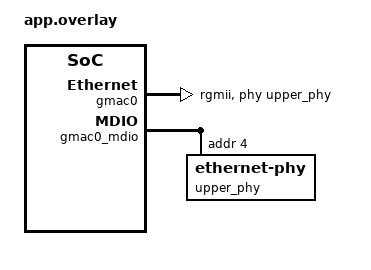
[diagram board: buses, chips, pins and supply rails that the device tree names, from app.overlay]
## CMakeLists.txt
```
# Copyright The Zephyr Project Contributors
# SPDX-License-Identifier: Apache-2.0

cmake_minimum_required(VERSION 3.20.0)

find_package(Zephyr REQUIRED HINTS $ENV{ZEPHYR_BASE})
project(s32g_periodic_tasks)

target_sources(app PRIVATE
  src/main.c
  src/clock.c
  src/clock_setup.c
  src/can_loopback.c
  src/eeprom_read_test.c
  src/network.c
  src/udp_log.c
)
```

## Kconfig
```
# SPDX-FileCopyrightText: Copyright The Zephyr Project Contributors
# SPDX-License-Identifier: Apache-2.0

mainmenu "S32G periodic application"

source "Kconfig.zephyr"

config SAMPLE_S32G_FLEXCAN_LOOPBACK
	bool "Run FlexCAN0 internal loopback at startup"
	depends on SOC_S32G274A_M7_0
	help
	  Test 1000 classical CAN frames at 500 kbit/s, then disable CAN0.
	  Requires exclusive ownership of CAN0 and an existing stable 40 MHz
	  FXOSC-selected FLEXCAN clock. Does not configure pins or transceivers,
	  change shared clocks, or provide a Zephyr CAN API driver.

config SAMPLE_S32G_CORE_PLL_FXOSC
	bool "Initialize CORE_PLL from the board crystal"
	depends on SOC_S32G274A_M7_0
	help
	  Configure the shared CORE_PLL and DFS1 before SysTick starts, using
	  the existing stable 40 MHz FXOSC to generate a nominal 400 MHz M7
	  clock. Requires exclusive ownership of CORE_PLL and XBAR clocks,
	  stopped A53 and other M7 cores, and no other enabled CORE_PLL output.
	  Disable this option when boot firmware owns the shared clock tree.
```

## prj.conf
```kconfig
# Copyright The Zephyr Project Contributors
# SPDX-License-Identifier: Apache-2.0

CONFIG_GPIO=y
CONFIG_EVENTS=y
CONFIG_THREAD_NAME=y
CONFIG_PRINTK=y
CONFIG_SYS_CLOCK_TICKS_PER_SEC=1000
CONFIG_TIMER_READS_ITS_FREQUENCY_AT_RUNTIME=y
CONFIG_SAMPLE_S32G_CORE_PLL_FXOSC=y
CONFIG_TICKLESS_KERNEL=n
CONFIG_MAIN_STACK_SIZE=4096
CONFIG_MAIN_THREAD_PRIORITY=6
CONFIG_INIT_STACKS=y
CONFIG_THREAD_STACK_INFO=y
CONFIG_ASSERT=y

CONFIG_LOG=y
CONFIG_LOG_PRINTK=y
CONFIG_LOG_MODE_DEFERRED=y
CONFIG_LOG_BUFFER_SIZE=8192
CONFIG_SYSTEM_WORKQUEUE_STACK_SIZE=2048
CONFIG_DCACHE=n
CONFIG_NETWORKING=y
CONFIG_NET_L2_ETHERNET=y
CONFIG_ETH_DRIVER=y
CONFIG_TEST_RANDOM_GENERATOR=y
CONFIG_NET_IPV4=y
CONFIG_NET_IPV6=n
CONFIG_NET_UDP=y
CONFIG_NET_TCP=n
CONFIG_NET_SOCKETS=y
CONFIG_NET_BUF_DATA_SIZE=1536
CONFIG_NET_BUF_ALIGNMENT=256
CONFIG_NET_PKT_RX_COUNT=16
CONFIG_NET_PKT_TX_COUNT=16
CONFIG_NET_BUF_RX_COUNT=32
CONFIG_NET_BUF_TX_COUNT=32
CONFIG_NET_STATISTICS=y
CONFIG_NET_STATISTICS_ETHERNET=y
CONFIG_MDIO_INIT_PRIORITY=81
CONFIG_PHY_INIT_PRIORITY=82
CONFIG_PHY_MONITOR_PERIOD=1000
CONFIG_ETH_DWMAC_RX_REFILL_IRQ=n
CONFIG_ETH_DWC_ETHER_TX_HW_CHECKSUM=n
CONFIG_ETH_DWC_ETHER_RX_HW_CHECKSUM=n
CONFIG_SAMPLE_S32G_FLEXCAN_LOOPBACK=y
```

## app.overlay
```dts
/*
 * SPDX-FileCopyrightText: Copyright The Zephyr Project Contributors
 * SPDX-License-Identifier: Apache-2.0
 */

#include <zephyr/dt-bindings/pinctrl/nxp-siul2-pinctrl.h>

/ {
	zephyr,user {
		pinctrl-0 = <&eeprom_i2c2_default>;
		pinctrl-names = "default";
	};

	aliases {
		ethernet0 = &gmac0;
	};
};

&siul2_0 {
	eeprom_i2c2_default: eeprom-i2c2-default {
		bus {
			/* PB5/SCL and PB6/SDA use SIUL2_1 IMCR 207/208. */
			pinmux = <NXP_SIUL2_PINMUX(0, 1, 21, 1, 207, 2)>,
				 <NXP_SIUL2_PINMUX(0, 1, 22, 1, 208, 2)>;
			input-enable;
			output-enable;
			drive-open-drain;
			bias-disable;
			nxp,slew-rate = <4>;
		};
	};

	gmac0_default: gmac0-default {
		tx {
			pinmux = <NXP_SIUL2_PINMUX(0, 0, 66, 1, 0, 0)>,
				 <NXP_SIUL2_PINMUX(0, 0, 67, 1, 0, 0)>,
				 <NXP_SIUL2_PINMUX(0, 0, 68, 1, 0, 0)>,
				 <NXP_SIUL2_PINMUX(0, 0, 69, 1, 0, 0)>,
				 <NXP_SIUL2_PINMUX(0, 0, 70, 1, 0, 0)>,
				 <NXP_SIUL2_PINMUX(0, 0, 71, 1, 0, 0)>;
			output-enable;
			nxp,slew-rate = <5>;
		};

		rx {
			pinmux = <NXP_SIUL2_PINMUX(0, 0, 72, 0, 17, 2)>,
				 <NXP_SIUL2_PINMUX(0, 0, 73, 0, 18, 2)>,
				 <NXP_SIUL2_PINMUX(0, 0, 74, 0, 19, 2)>,
				 <NXP_SIUL2_PINMUX(0, 0, 75, 0, 20, 2)>,
				 <NXP_SIUL2_PINMUX(0, 0, 76, 0, 21, 2)>,
				 <NXP_SIUL2_PINMUX(0, 0, 77, 0, 22, 2)>;
			input-enable;
			nxp,slew-rate = <5>;
		};

		mdc {
			pinmux = <NXP_SIUL2_PINMUX(0, 0, 60, 1, 0, 0)>;
			output-enable;
			nxp,slew-rate = <5>;
		};

		mdio {
			pinmux = <NXP_SIUL2_PINMUX(0, 0, 61, 1, 15, 2)>;
			input-enable;
			output-enable;
			nxp,slew-rate = <5>;
		};
	};
};

&gmac0 {
	status = "okay";
	pinctrl-0 = <&gmac0_default>;
	pinctrl-names = "default";
	phy-connection-type = "rgmii";
	phy-handle = <&upper_phy>;
	local-mac-address = [02 00 00 27 4a 00];
	/* Standalone M7 ownership; A53 and other PLL consumers are stopped. */
	nxp,initialize-periph-pll;
};

&gmac0_mdio {
	status = "okay";

	upper_phy: ethernet-phy@4 {
		compatible = "ethernet-phy";
		reg = <4>;
		default-speeds = "1000BASE Full-Duplex";
	};
};
```

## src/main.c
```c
/*
 * Copyright The Zephyr Project Contributors
 * SPDX-License-Identifier: Apache-2.0
 */

#include <inttypes.h>
#include <zephyr/drivers/gpio.h>
#include <zephyr/kernel.h>
#include <zephyr/sys/atomic.h>
#include <zephyr/sys/barrier.h>
#include <zephyr/sys/printk.h>

#include "can_loopback.h"
#include "clock.h"
#include "eeprom_read_test.h"
#include "network.h"
#include "periodic_logic.h"

#define STACK_SIZE   1024U
#define EVENT_5MS    BIT(0)
#define EVENT_10MS   BIT(1)
#define EVENT_20MS   BIT(2)
#define EVENT_ALL    (EVENT_5MS | EVENT_10MS | EVENT_20MS)

/* Atomic fields remain visible in TRACE32 and safe to read across threads. */
struct sample_counters {
	atomic_t task_1ms;
	atomic_t task_10ms;
	atomic_t task_100ms;
	atomic_t event_5ms;
	atomic_t event_10ms;
	atomic_t event_20ms;
	atomic_t missed_1ms;
	atomic_t missed_10ms;
	atomic_t missed_100ms;
	atomic_t led_toggles;
	atomic_t gpio_errors;
};

struct sample_counters sample_counters;

/* Published after shared clock setup and boot-time peripheral tests finish. */
volatile uint32_t sample_amp_primary_ready;

static const struct gpio_dt_spec led = GPIO_DT_SPEC_GET(DT_ALIAS(led0), gpios);
static K_EVENT_DEFINE(extended_events);
static K_MUTEX_DEFINE(console_lock);

static atomic_t pending_5ms;
static atomic_t pending_10ms;
static atomic_t pending_20ms;

static void event_expiry(struct k_timer *timer);

K_TIMER_DEFINE(timer_1ms, NULL, NULL);
K_TIMER_DEFINE(timer_10ms, NULL, NULL);
K_TIMER_DEFINE(timer_100ms, NULL, NULL);
K_TIMER_DEFINE(timer_event_5ms, event_expiry, NULL);
K_TIMER_DEFINE(timer_event_10ms, event_expiry, NULL);
K_TIMER_DEFINE(timer_event_20ms, event_expiry, NULL);

static void event_expiry(struct k_timer *timer)
{
	atomic_t *pending;
	uint32_t event;

	if (timer == &timer_event_5ms) {
		pending = &pending_5ms;
		event = EVENT_5MS;
	} else if (timer == &timer_event_10ms) {
		pending = &pending_10ms;
		event = EVENT_10MS;
	} else {
		pending = &pending_20ms;
		event = EVENT_20MS;
	}

	/* Event bits coalesce; the pending count preserves every expiration. */
	atomic_inc(pending);
	k_event_post(&extended_events, event);
}

static void record_periods(atomic_t *counter, atomic_t *missed, uint32_t elapsed)
{
	atomic_add(counter, (atomic_val_t)elapsed);
	if (elapsed > 1U) {
		atomic_add(missed, (atomic_val_t)(elapsed - 1U));
	}
}

static void task_1ms(void *p1, void *p2, void *p3)
{
	uint32_t led_phase = 0U;

	ARG_UNUSED(p1);
	ARG_UNUSED(p2);
	ARG_UNUSED(p3);

	while (true) {
		uint32_t elapsed = k_timer_status_sync(&timer_1ms);

		record_periods(&sample_counters.task_1ms, &sample_counters.missed_1ms, elapsed);
		if (sample_led_advance(&led_phase, elapsed)) {
			int err = gpio_pin_toggle_dt(&led);

			if (err != 0) {
				atomic_inc(&sample_counters.gpio_errors);
				return;
			}
			atomic_inc(&sample_counters.led_toggles);
		}
	}
}

struct periodic_log {
	struct k_timer *timer;
	atomic_t *counter;
	atomic_t *missed;
	const char *name;
};

static const struct periodic_log log_10ms = {
	.timer = &timer_10ms,
	.counter = &sample_counters.task_10ms,
	.missed = &sample_counters.missed_10ms,
	.name = "task_10ms",
};

static const struct periodic_log log_100ms = {
	.timer = &timer_100ms,
	.counter = &sample_counters.task_100ms,
	.missed = &sample_counters.missed_100ms,
	.name = "task_100ms",
};

static void task_log(void *p1, void *p2, void *p3)
{
	const struct periodic_log *task = p1;

	ARG_UNUSED(p2);
	ARG_UNUSED(p3);

	while (true) {
		uint32_t elapsed = k_timer_status_sync(task->timer);
		int err;

		record_periods(task->counter, task->missed, elapsed);
		err = k_mutex_lock(&console_lock, K_FOREVER);
		if (err != 0) {
			return;
		}
		if (task == &log_100ms) {
			printk("%s count=%" PRIu32 " e5=%" PRIu32 " e10=%" PRIu32
			       " e20=%" PRIu32 "\n", task->name,
			       (uint32_t)atomic_get(task->counter),
			       (uint32_t)atomic_get(&sample_counters.event_5ms),
			       (uint32_t)atomic_get(&sample_counters.event_10ms),
			       (uint32_t)atomic_get(&sample_counters.event_20ms));
		} else {
			printk("%s count=%" PRIu32 "\n", task->name,
			       (uint32_t)atomic_get(task->counter));
		}
		err = k_mutex_unlock(&console_lock);
		if (err != 0) {
			return;
		}
	}
}

static void task_extended(void *p1, void *p2, void *p3)
{
	ARG_UNUSED(p1);
	ARG_UNUSED(p2);
	ARG_UNUSED(p3);

	while (true) {
		uint32_t events = k_event_wait_safe(&extended_events, EVENT_ALL, false, K_FOREVER);

		if ((events & EVENT_5MS) != 0U) {
			atomic_add(&sample_counters.event_5ms, atomic_set(&pending_5ms, 0));
		}
		if ((events & EVENT_10MS) != 0U) {
			atomic_add(&sample_counters.event_10ms, atomic_set(&pending_10ms, 0));
		}
		if ((events & EVENT_20MS) != 0U) {
			atomic_add(&sample_counters.event_20ms, atomic_set(&pending_20ms, 0));
		}
	}
}

/* A delay of -1 keeps static threads stopped until main() configures GPIO. */
K_THREAD_DEFINE(task_1ms_id, STACK_SIZE, task_1ms, NULL, NULL, NULL, 0, 0, -1);
K_THREAD_DEFINE(task_extended_id, STACK_SIZE, task_extended, NULL, NULL, NULL, 1, 0, -1);
K_THREAD_DEFINE(task_10ms_id, STACK_SIZE, task_log, (void *)&log_10ms, NULL, NULL, 2, 0, -1);
K_THREAD_DEFINE(task_100ms_id, STACK_SIZE, task_log, (void *)&log_100ms, NULL, NULL, 3, 0, -1);

int main(void)
{
	const k_tid_t threads[] = {
		task_1ms_id, task_extended_id, task_10ms_id, task_100ms_id,
	};
	const char *const names[] = {
		"task_1ms", "task_extended", "task_10ms", "task_100ms",
	};
	int err;

	if (sample_clock_error != 0) {
		printk("M7 crystal clock initialization failed: %" PRId32 "\n", sample_clock_error);
		return sample_clock_error;
	}
	if (sample_core_clock_hz == 0U) {
		printk("Unsupported M7 clock tree, MUX0 source=%" PRIu32 "\n", sample_clock_source);
		return -ENOTSUP;
	}
	err = sample_can_loopback_test();
	if (err != 0) {
		printk("CAN0 loopback failed: %d\n", err);
	}
	/* Check reads before an optional, debugger-armed write/restore test. */
	sample_eeprom_read_test();
	err = sample_eeprom_write_test();
	if (err != 0) {
		printk("EEPROM write test failed; application tasks remain stopped: %d\n", err);
		return err;
	}
	if (!gpio_is_ready_dt(&led)) {
		printk("D15 GPIO is not ready\n");
		return -ENODEV;
	}
	err = gpio_pin_configure_dt(&led, GPIO_OUTPUT_INACTIVE);
	if (err != 0) {
		printk("D15 GPIO configuration failed: %d\n", err);
		return err;
	}
	for (size_t i = 0U; i < ARRAY_SIZE(threads); i++) {
		err = k_thread_name_set(threads[i], names[i]);
		if (err != 0) {
			printk("Thread naming failed: %d\n", err);
			return err;
		}
	}

	printk("M7 clock=%" PRIu32 " Hz, MUX0 source=%" PRIu32 ", tick=1 ms\n",
	       sample_core_clock_hz, sample_clock_source);
	printk("Periodic tasks started; D15/PB8 toggles every 500 ms\n");

	/* Start all deadlines together; no UART or GPIO operations run in the ISR. */
	unsigned int key = irq_lock();

	k_timer_start(&timer_1ms, K_MSEC(1), K_MSEC(1));
	k_timer_start(&timer_10ms, K_MSEC(10), K_MSEC(10));
	k_timer_start(&timer_100ms, K_MSEC(100), K_MSEC(100));
	k_timer_start(&timer_event_5ms, K_MSEC(5), K_MSEC(5));
	k_timer_start(&timer_event_10ms, K_MSEC(10), K_MSEC(10));
	k_timer_start(&timer_event_20ms, K_MSEC(20), K_MSEC(20));
	irq_unlock(key);
	for (size_t i = 0U; i < ARRAY_SIZE(threads); i++) {
		k_thread_start(threads[i]);
	}
	err = sample_network_start();
	if (err != 0) {
		printk("Network thread startup failed: %d\n", err);
		return err;
	}
	barrier_dsync_fence_full();
	sample_amp_primary_ready = 0x414d5030U;
	return 0;
}
```

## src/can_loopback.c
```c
/*
 * SPDX-FileCopyrightText: Copyright The Zephyr Project Contributors
 * SPDX-License-Identifier: Apache-2.0
 */

#include <errno.h>
#include <inttypes.h>
#include <zephyr/kernel.h>
#include <zephyr/sys/barrier.h>
#include <zephyr/sys/printk.h>
#include <zephyr/sys/sys_io.h>
#include <zephyr/sys/util.h>

#include "can_loopback.h"

#define CAN0_BASE 0x401b4000U
#define CAN_CLOCK_STATUS 0x400304c4U
#define FXOSC_STATUS 0x40050004U
#define MCR 0x00U
#define CTRL1 0x04U
#define TIMER 0x08U
#define ECR 0x1cU
#define ESR1 0x20U
#define IMASK1 0x28U
#define IFLAG1 0x30U
#define CTRL2 0x34U
#define MB_BASE 0x80U
#define RXIMR_BASE 0x880U
#define ERRSR 0xafcU
#define MCR_MDIS BIT(31)
#define MCR_FRZ BIT(30)
#define MCR_HALT BIT(28)
#define MCR_NOTRDY BIT(27)
#define MCR_SOFTRST BIT(25)
#define MCR_FRZACK BIT(24)
#define MCR_LPMACK BIT(20)
#define MCR_IRMQ BIT(16)
#define CTRL1_LPB BIT(12)
#define LOOPBACK_TIMING ((3U << 24U) | (1U << 22U) | (6U << 19U) | \
			(3U << 16U) | CTRL1_LPB | 7U)
#define CS_IDE BIT(21)
#define CS_SRR BIT(22)
#define CS_RTR BIT(20)
#define CS_CODE_MASK GENMASK(27, 24)
#define CS_DLC_MASK GENMASK(19, 16)
#define RX_EMPTY (4U << 24U)
#define RX_FULL (2U << 24U)
#define TX_INACTIVE (8U << 24U)
#define TX_DATA (12U << 24U)
#define RX_MB 1U
#define TX_MB 8U
#define MB_FLAGS (BIT(RX_MB) | BIT(TX_MB))
#define ERROR_MASK (GENMASK(15, 8) | GENMASK(5, 4) | BIT(2) | BIT(1))
#define FRAME_COUNT 1000U
#define TIMEOUT_MS 20U

struct can_loopback_result {
	uint32_t state;
	int32_t error;
	uint32_t stage;
	uint32_t transmitted;
	uint32_t received;
	uint32_t standard;
	uint32_t extended;
	uint32_t bytes;
	uint32_t mismatches;
	uint32_t timeouts;
	uint32_t clock_hz;
	uint32_t bitrate;
	uint32_t running_mcr;
	uint32_t running_ctrl1;
	uint32_t error_status;
	uint32_t error_count;
	int32_t cleanup_error;
	uint32_t final_mcr;
	uint32_t memory_errors;
	uint32_t dlc_seen;
};

volatile struct can_loopback_result sample_can_result;

static uint32_t read_reg(uint32_t offset)
{
	return sys_read32(CAN0_BASE + offset);
}

static void write_reg(uint32_t offset, uint32_t value)
{
	sys_write32(value, CAN0_BASE + offset);
	barrier_dsync_fence_full();
}

static int32_t wait_reg(uint32_t offset, uint32_t mask, uint32_t expected)
{
	int64_t deadline = k_uptime_get() + TIMEOUT_MS;

	do {
		if ((read_reg(offset) & mask) == expected) {
			return 0;
		}
	} while (k_uptime_get() < deadline);
	sample_can_result.timeouts++;
	return -ETIMEDOUT;
}

static int32_t check_available(void)
{
	static const uint32_t other_cores[] = {
		0x168U, 0x188U, 0x1a8U, 0x348U, 0x368U, 0x388U, 0x3a8U,
	};
	static const uint32_t interrupt_masks[] = {0x24U, 0x28U, 0x68U, 0x6cU};
	uint32_t clock = sys_read32(CAN_CLOCK_STATUS);
	uint32_t mcr = read_reg(MCR);

	/* Shared FLEXCAN_CLK is read, never switched. Only stable 40 MHz FXOSC is supported. */
	if (((clock & (GENMASK(28, 24) | BIT(16) | BIT(3))) != (2U << 24U)) ||
	    ((sys_read32(FXOSC_STATUS) & BIT(31)) == 0U)) {
		return -ENOTSUP;
	}
	for (size_t i = 0U; i < ARRAY_SIZE(other_cores); i++) {
		if ((sys_read32(0x40088000U + other_cores[i]) & BIT(0)) != 0U) {
			return -EBUSY;
		}
	}
	for (size_t i = 0U; i < ARRAY_SIZE(interrupt_masks); i++) {
		if (read_reg(interrupt_masks[i]) != 0U) {
			return -EBUSY;
		}
	}
	if ((mcr & MCR_MDIS) == 0U) {
		/* Exclusive CAN0 ownership permits replacing idle boot receive buffers. */
		if (((read_reg(ESR1) & BIT(7)) == 0U) ||
		    ((read_reg(0x2cU) | read_reg(IFLAG1) | read_reg(0x70U) |
		      read_reg(0x74U)) != 0U)) {
			return -EBUSY;
		}
		for (uint32_t i = 0U; i <= (mcr & 0x7fU); i++) {
			uint32_t code = read_reg(MB_BASE + 16U * i) & CS_CODE_MASK;

			(void)read_reg(TIMER);
			if ((code != 0U) && (code != TX_INACTIVE) && (code != RX_EMPTY)) {
				return -EBUSY;
			}
		}
	}
	sample_can_result.clock_hz = 40000000U;
	sample_can_result.bitrate = 500000U;
	return 0;
}

static int32_t initialize(void)
{
	int32_t err;

	sample_can_result.stage = 2U;
	write_reg(MCR, (read_reg(MCR) | MCR_FRZ | MCR_HALT) & ~MCR_MDIS);
	err = wait_reg(MCR, MCR_FRZACK | MCR_LPMACK, MCR_FRZACK);
	if (err != 0) {
		return err;
	}
	sample_can_result.stage = 3U;
	write_reg(MCR, read_reg(MCR) | MCR_SOFTRST);
	err = wait_reg(MCR, MCR_SOFTRST, 0U);
	if (err != 0) {
		return err;
	}
	write_reg(MCR, MCR_FRZ | MCR_HALT | MCR_IRMQ | TX_MB);
	err = wait_reg(MCR, MCR_FRZACK, MCR_FRZACK);
	if (err != 0) {
		return err;
	}
	sample_can_result.stage = 4U;
	/* CBT and CTRL1 timing fields alias: clear CBT before writing CTRL1. */
	write_reg(0x50U, 0U);
	/* 40 MHz / 4 / 20 TQ = 500 kbit/s; sample point 80%, SJW 2 TQ. */
	write_reg(CTRL1, LOOPBACK_TIMING);
	write_reg(0xc00U, 0U); /* Eight-byte MB layout; CAN FD remains disabled. */
	write_reg(CTRL2, BIT(28)); /* WRMFRZ grants access to ECC-protected mask RAM. */
	/* S32G274A has 128 classic MBs: initialize all message and mask RAM ECC. */
	for (uint32_t offset = MB_BASE; offset < RXIMR_BASE; offset += 4U) {
		write_reg(offset, 0U);
	}
	for (uint32_t i = 0U; i < 128U; i++) {
		write_reg(RXIMR_BASE + i * 4U, UINT32_MAX);
	}
	write_reg(0x10U, UINT32_MAX);
	write_reg(0x14U, UINT32_MAX);
	write_reg(0x18U, UINT32_MAX);
	write_reg(0x48U, UINT32_MAX);
	write_reg(CTRL2, BIT(16) | BIT(17)); /* Compare IDE/RTR; do not answer remote frames. */
	write_reg(0x24U, 0U);
	write_reg(IMASK1, 0U);
	write_reg(0x68U, 0U);
	write_reg(0x6cU, 0U);
	write_reg(0x2cU, UINT32_MAX);
	write_reg(IFLAG1, UINT32_MAX);
	write_reg(0x70U, UINT32_MAX);
	write_reg(0x74U, UINT32_MAX);
	write_reg(MB_BASE + 16U * TX_MB, TX_INACTIVE);
	if (read_reg(CTRL1) != LOOPBACK_TIMING) {
		return -EIO;
	}
	sample_can_result.stage = 5U;
	/* SRXDIS=0 allows self reception; never leave freeze without LPB set. */
	write_reg(MCR, read_reg(MCR) & ~(MCR_FRZ | MCR_HALT));
	err = wait_reg(MCR, MCR_FRZACK | MCR_NOTRDY, 0U);
	sample_can_result.running_mcr = read_reg(MCR);
	sample_can_result.running_ctrl1 = read_reg(CTRL1);
	return err;
}

static int32_t transfer(uint32_t sequence)
{
	const uint32_t rx = MB_BASE + 16U * RX_MB;
	const uint32_t tx = MB_BASE + 16U * TX_MB;
	bool extended = (sequence % 2U) != 0U;
	uint32_t length = sequence % 9U;
	uint32_t id = (sequence * 7919U) & (extended ? 0x1fffffffU : 0x7ffU);
	uint32_t flags = extended ? CS_IDE | CS_SRR : 0U;
	uint32_t data[2] = {0U, 0U};
	uint32_t received_data[2];
	uint32_t received_cs;
	uint32_t received_id;
	int32_t err;

	if (sequence < 4U) {
		id = (sequence < 2U) ? 0U : (extended ? 0x1fffffffU : 0x7ffU);
	}
	if (!extended) {
		id <<= 18U;
	}
	for (uint32_t i = 0U; i < length; i++) {
		uint32_t byte = (sequence * 37U + i * 53U) & 0xffU;

		data[i / 4U] |= byte << (24U - 8U * (i % 4U));
	}
	write_reg(rx, 0U);
	write_reg(rx + 4U, id);
	write_reg(rx, RX_EMPTY | (flags & CS_IDE));
	write_reg(IFLAG1, MB_FLAGS);
	write_reg(tx, TX_INACTIVE);
	write_reg(tx + 4U, id);
	write_reg(tx + 8U, data[0]);
	write_reg(tx + 12U, data[1]);
	write_reg(tx, TX_DATA | flags | (length << 16U));
	err = wait_reg(IFLAG1, BIT(TX_MB), BIT(TX_MB));
	if (err != 0) {
		return err;
	}
	sample_can_result.transmitted++;
	err = wait_reg(IFLAG1, BIT(RX_MB), BIT(RX_MB));
	if (err != 0) {
		return err;
	}
	/* Reading CS locks the receive MB; TIMER releases the lock after the payload read. */
	received_cs = read_reg(rx);
	received_id = read_reg(rx + 4U);
	received_data[0] = read_reg(rx + 8U);
	received_data[1] = read_reg(rx + 12U);
	(void)read_reg(TIMER);
	write_reg(IFLAG1, MB_FLAGS);
	sample_can_result.received++;
	if (((received_cs & (CS_CODE_MASK | CS_IDE | CS_RTR | CS_DLC_MASK)) !=
	     (RX_FULL | (flags & CS_IDE) | (length << 16U))) ||
	    ((received_id & 0x1fffffffU) != id) ||
	    ((read_reg(tx) & CS_CODE_MASK) != TX_INACTIVE)) {
		sample_can_result.mismatches++;
		return -EBADMSG;
	}
	/* Bytes beyond DLC are unspecified and must not participate in the comparison. */
	for (uint32_t i = 0U; i < length; i++) {
		uint32_t shift = 24U - 8U * (i % 4U);

		if (((received_data[i / 4U] >> shift) & 0xffU) !=
		    ((data[i / 4U] >> shift) & 0xffU)) {
			sample_can_result.mismatches++;
			return -EBADMSG;
		}
	}
	if (extended) {
		sample_can_result.extended++;
	} else {
		sample_can_result.standard++;
	}
	sample_can_result.bytes += length;
	sample_can_result.dlc_seen |= BIT(length);
	sample_can_result.error_status |= read_reg(ESR1) & ERROR_MASK;
	sample_can_result.error_count = read_reg(ECR);
	sample_can_result.memory_errors |= read_reg(ERRSR);
	if ((sample_can_result.error_status != 0U) || (sample_can_result.error_count != 0U) ||
	    (sample_can_result.memory_errors != 0U)) {
		return -EIO;
	}
	return 0;
}

int32_t sample_can_loopback_test(void)
{
	int32_t err;

	if (!IS_ENABLED(CONFIG_SAMPLE_S32G_FLEXCAN_LOOPBACK)) {
		return 0;
	}
	sample_can_result = (struct can_loopback_result){.state = 1U, .stage = 1U};
	err = check_available();
	if (err == 0) {
		err = initialize();
		if (err == 0) {
			sample_can_result.stage = 6U;
			for (uint32_t i = 0U; i < FRAME_COUNT; i++) {
				err = transfer(i);
				if (err != 0) {
					break;
				}
			}
		}
		sample_can_result.error_status |= read_reg(ESR1) & ERROR_MASK;
		sample_can_result.error_count = read_reg(ECR);
		sample_can_result.memory_errors |= read_reg(ERRSR);
		/* Halt then disable CAN0, retaining LPB throughout cleanup and warm reload. */
		write_reg(MCR, read_reg(MCR) | MCR_FRZ | MCR_HALT);
		sample_can_result.cleanup_error = wait_reg(MCR, MCR_FRZACK, MCR_FRZACK);
		write_reg(MCR, read_reg(MCR) | MCR_MDIS);
		int32_t disable_error = wait_reg(MCR, MCR_LPMACK, MCR_LPMACK);

		if (sample_can_result.cleanup_error == 0) {
			sample_can_result.cleanup_error = disable_error;
		}
		if (err == 0) {
			err = sample_can_result.cleanup_error;
		}
		/* Include errors observed after the last frame and during module shutdown. */
		sample_can_result.error_status |= read_reg(ESR1) & ERROR_MASK;
		sample_can_result.memory_errors |= read_reg(ERRSR);
		uint32_t final_errors = read_reg(ECR);

		if (final_errors != 0U) {
			sample_can_result.error_count = final_errors;
		}
		if ((err == 0) && ((sample_can_result.error_status != 0U) ||
				   (sample_can_result.error_count != 0U) ||
				   (sample_can_result.memory_errors != 0U))) {
			err = -EIO;
		}
	}
	sample_can_result.final_mcr = read_reg(MCR);
	sample_can_result.error = err;
	sample_can_result.state = (err == 0) ? 2U : 3U;
	printk("CAN0 loopback %s: tx=%" PRIu32 " rx=%" PRIu32 " std=%" PRIu32
	       " ext=%" PRIu32 " bytes=%" PRIu32 " mismatch=%" PRIu32 " timeout=%" PRIu32 "\n",
	       (err == 0) ? "PASS" : "FAIL", sample_can_result.transmitted,
	       sample_can_result.received, sample_can_result.standard, sample_can_result.extended,
	       sample_can_result.bytes, sample_can_result.mismatches, sample_can_result.timeouts);
	printk("CAN0 loopback: clock=%" PRIu32 " bitrate=%" PRIu32 " err=%" PRId32
	       " stage=%" PRIu32 " esr=0x%08" PRIx32 " ecr=0x%08" PRIx32
	       " cleanup=%" PRId32 " disabled=%u\n",
	       sample_can_result.clock_hz, sample_can_result.bitrate, err, sample_can_result.stage,
	       sample_can_result.error_status, sample_can_result.error_count,
	       sample_can_result.cleanup_error,
	       (unsigned int)((sample_can_result.final_mcr & MCR_MDIS) != 0U));
	return err;
}
```

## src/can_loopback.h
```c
/*
 * SPDX-FileCopyrightText: Copyright The Zephyr Project Contributors
 * SPDX-License-Identifier: Apache-2.0
 */

#ifndef S32G_PERIODIC_TASKS_CAN_LOOPBACK_H_
#define S32G_PERIODIC_TASKS_CAN_LOOPBACK_H_

#include <stdint.h>

/* Bounded CAN0 internal loopback; no pinmux or transceiver configuration. */
int32_t sample_can_loopback_test(void);

#endif /* S32G_PERIODIC_TASKS_CAN_LOOPBACK_H_ */
```

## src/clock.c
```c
/*
 * Copyright The Zephyr Project Contributors
 * SPDX-License-Identifier: Apache-2.0
 */

#include <zephyr/init.h>
#include <zephyr/kernel.h>
#include <zephyr/sys/sys_io.h>
#include <zephyr/sys/util.h>

#include "clock.h"

#define MC_CGM0_MUX0_CSS 0x40030304U
#define CORE_PLL_BASE    0x40038000U
#define CORE_DFS_BASE    0x40054000U
#define FIRC_HZ          48000000U
#define FXOSC_HZ         40000000U

uint32_t sample_core_clock_hz;
uint32_t sample_clock_source;
int32_t sample_clock_error;

/* Kernel runtime frequency storage, initialized before the timer driver. */
extern unsigned int z_clock_hw_cycles_per_sec;

static uint64_t core_pll_hz(void)
{
	uint32_t pll_status = sys_read32(CORE_PLL_BASE + 0x04U);
	uint32_t pll_div = sys_read32(CORE_PLL_BASE + 0x08U);
	uint32_t pll_frac = sys_read32(CORE_PLL_BASE + 0x10U);
	uint32_t ref_select = sys_read32(CORE_PLL_BASE + 0x20U) & 1U;
	uint32_t ref_hz = (ref_select == 0U) ? FIRC_HZ : FXOSC_HZ;

	return sample_pll_hz(ref_hz, pll_div, pll_frac, pll_status);
}

static int sample_clock_init(void)
{
	uint64_t xbar_2x_hz = 0U;
	uint32_t source;

	if (IS_ENABLED(CONFIG_SAMPLE_S32G_CORE_PLL_FXOSC)) {
		sample_clock_error = sample_clock_configure_fxosc();
	}
	source = (sys_read32(MC_CGM0_MUX0_CSS) >> 24U) & 0x3fU;

	sample_clock_source = source;
	if (source == 0U) {
		xbar_2x_hz = FIRC_HZ;
	} else if (source == 2U) {
		xbar_2x_hz = FXOSC_HZ;
	} else if ((source == 4U) || (source == 5U)) {
		uint32_t odiv = sys_read32(CORE_PLL_BASE + 0x80U + (source - 4U) * 4U);

		if ((odiv & BIT(31)) != 0U) {
			xbar_2x_hz = core_pll_hz() / (((odiv >> 16U) & 0xffU) + 1U);
		}
	} else if ((source >= 12U) && (source <= 17U)) {
		uint32_t port = source - 12U;
		uint32_t status = sys_read32(CORE_DFS_BASE + 0x0cU);
		uint32_t div = sys_read32(CORE_DFS_BASE + 0x1cU + port * 4U);

		xbar_2x_hz = sample_dfs_hz(core_pll_hz(), div, status, port);
	}

	/* All three M7 cores run at XBAR_CLK, which is XBAR_2X_CLK / 2. */
	xbar_2x_hz /= 2U;
	if ((xbar_2x_hz < 1000U) || (xbar_2x_hz > 400000000U)) {
		/* Keep the bootstrap rate so main() can report the unsupported tree. */
		return 0;
	}

	sample_core_clock_hz = (uint32_t)xbar_2x_hz;
	/* Publish the resulting frequency before SysTick initialization. */
	z_clock_hw_cycles_per_sec = sample_core_clock_hz;
	return 0;
}

SYS_INIT(sample_clock_init, PRE_KERNEL_1, 0);
```

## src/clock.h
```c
/*
 * Copyright The Zephyr Project Contributors
 * SPDX-License-Identifier: Apache-2.0
 */

#ifndef S32G_PERIODIC_TASKS_CLOCK_H_
#define S32G_PERIODIC_TASKS_CLOCK_H_

#include <stdint.h>

/* Startup result for main() and debugger inspection. Zero means unsupported. */
extern uint32_t sample_core_clock_hz;
extern uint32_t sample_clock_source;
extern int32_t sample_clock_error;

/**
 * @brief Configure the standalone M7 clock from the stable board crystal before SysTick.
 *
 * Requires exclusive ownership of CORE_PLL and XBAR clocks. Other cores must
 * remain disabled; state checks do not establish an AMP resource reservation.
 * After a failure during reconfiguration, XBAR may remain on FIRC. Do not start
 * application tasks when this function fails.
 *
 * @retval 0 Crystal-based 400 MHz clock configured or already selected.
 * @retval -ENODEV FXOSC is not stable.
 * @retval -ENOTSUP Boot firmware has not initialized the CORE_DFS master.
 * @retval -EBUSY Another core or clock consumer is enabled.
 * @retval -ETIMEDOUT Clock switch, PLL lock, or DFS status poll exceeded its bound.
 */
int32_t sample_clock_configure_fxosc(void);

static inline uint64_t sample_pll_hz(uint32_t ref_hz, uint32_t pll_div,
				    uint32_t pll_frac, uint32_t pll_status)
{
	uint32_t rdiv = (pll_div >> 12U) & 7U;
	uint32_t mfi = pll_div & 0xffU;

	if ((pll_status & 4U) == 0U) {
		return 0U;
	}
	if (rdiv == 0U) {
		rdiv = 1U;
	}

	/* NXP Clock_Ip: VCO = reference * (MFI + MFN / 18432) / RDIV. */
	return (uint64_t)ref_hz * ((uint64_t)mfi * 18432U + (pll_frac & 0x7fffU)) /
	       ((uint64_t)rdiv * 18432U);
}

static inline uint64_t sample_dfs_hz(uint64_t vco_hz, uint32_t div,
				    uint32_t status, uint32_t port)
{
	uint32_t denominator = 36U * ((div >> 8U) & 0xffU) + (div & 0x3fU);

	if ((port >= 6U) || ((status & (1U << port)) == 0U) || (denominator == 0U)) {
		return 0U;
	}
	return vco_hz * 18U / denominator;
}

#endif /* S32G_PERIODIC_TASKS_CLOCK_H_ */
```

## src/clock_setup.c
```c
/*
 * SPDX-FileCopyrightText: Copyright The Zephyr Project Contributors
 * SPDX-License-Identifier: Apache-2.0
 */

#include <errno.h>
#include <zephyr/kernel.h>
#include <zephyr/sys/barrier.h>
#include <zephyr/sys/sys_io.h>
#include <zephyr/sys/util.h>

#include "clock.h"

#define CGM0_BASE       0x40030000U
#define CORE_PLL_BASE   0x40038000U
#define CORE_DFS_BASE   0x40054000U
#define FXOSC_STAT      0x40050004U
#define MC_ME_BASE      0x40088000U
#define POLL_LIMIT      100000U
#define MUX_SOURCE_MASK GENMASK(29, 24)
#define MUX_SWITCH_BUSY BIT(16)
#define MUX_SWITCH_OK   BIT(17)
#define PLL_DIV_400MHZ  0x2050U
#define DFS_DIV_400MHZ  0x100U
#define DFS_PORTS_MASK  0x3fU

static int32_t wait_register(uintptr_t address, uint32_t mask, uint32_t expected)
{
	/* SysTick does not exist yet; bound register polls rather than using kernel time. */
	for (uint32_t i = 0U; i < POLL_LIMIT; i++) {
		if ((sys_read32(address) & mask) == expected) {
			return 0;
		}
	}
	return -ETIMEDOUT;
}

static bool uses_core_pll(uintptr_t css)
{
	uint32_t source = (sys_read32(css) & MUX_SOURCE_MASK) >> 24U;

	return (source == 4U) || (source == 5U) || ((source >= 12U) && (source <= 17U));
}

static int32_t check_ownership(void)
{
	static const uint32_t other_core_status[] = {
		0x168U, 0x188U, 0x1a8U, 0x348U, 0x368U, 0x388U, 0x3a8U,
	};
	static const uint32_t other_mux_status[] = {
		0x344U, 0x384U, 0x3c4U, 0x404U, 0x444U, 0x484U, 0x4c4U,
		0x504U, 0x544U, 0x584U, 0x5c4U, 0x604U, 0x684U, 0x6c4U, 0x704U,
	};

	for (size_t i = 0U; i < ARRAY_SIZE(other_core_status); i++) {
		if ((sys_read32(MC_ME_BASE + other_core_status[i]) & BIT(0)) != 0U) {
			return -EBUSY;
		}
	}
	if (((sys_read32(CORE_PLL_BASE + 0x80U) |
	      sys_read32(CORE_PLL_BASE + 0x84U)) & BIT(31)) != 0U) {
		return -EBUSY;
	}
	if (((sys_read32(CORE_DFS_BASE + 0x0cU) & DFS_PORTS_MASK & ~BIT(0)) != 0U) ||
	    ((sys_read32(CORE_DFS_BASE + 0x14U) & DFS_PORTS_MASK & ~BIT(0)) !=
	     (DFS_PORTS_MASK & ~BIT(0)))) {
		return -EBUSY;
	}
	for (size_t i = 0U; i < ARRAY_SIZE(other_mux_status); i++) {
		if (uses_core_pll(CGM0_BASE + other_mux_status[i])) {
			return -EBUSY;
		}
	}
	if (uses_core_pll(0x40034304U) || uses_core_pll(0x40068304U)) {
		return -EBUSY;
	}
	/* Partition 1 clock registers are accessible only when that partition is on. */
	if ((sys_read32(MC_ME_BASE + 0x308U) & BIT(0)) != 0U) {
		for (uint32_t i = 0U; i < 10U; i++) {
			if (uses_core_pll(0x44018304U + i * 0x40U)) {
				return -EBUSY;
			}
		}
	}
	return 0;
}

static int32_t select_xbar_source(uint32_t source)
{
	uint32_t value;
	int32_t ret = wait_register(CGM0_BASE + 0x304U, MUX_SWITCH_BUSY, 0U);

	if (ret != 0) {
		return ret;
	}
	value = sys_read32(CGM0_BASE + 0x300U);
	value &= ~(MUX_SOURCE_MASK | GENMASK(3, 0));
	value |= (source << 24U) | BIT(2);
	barrier_dsync_fence_full();
	sys_write32(value, CGM0_BASE + 0x300U);
	ret = wait_register(CGM0_BASE + 0x304U,
			    MUX_SOURCE_MASK | MUX_SWITCH_BUSY | GENMASK(19, 17),
			    (source << 24U) | MUX_SWITCH_OK);
	barrier_dsync_fence_full();
	barrier_isync_fence_full();
	return ret;
}

int32_t sample_clock_configure_fxosc(void)
{
	uint32_t pll_control;
	int32_t ret;

	if ((sys_read32(FXOSC_STAT) & BIT(31)) == 0U) {
		return -ENODEV;
	}
	/* DFS master-reset initialization belongs to the boot clock owner. */
	if ((sys_read32(CORE_DFS_BASE + 0x18U) & BIT(1)) != 0U) {
		return -ENOTSUP;
	}
	ret = check_ownership();
	if (ret != 0) {
		return ret;
	}
	/* Leave a matching warm-boot clock tree untouched. */
	if (((sys_read32(CORE_PLL_BASE + 0x20U) & 1U) == 1U) &&
	    ((sys_read32(CORE_PLL_BASE) & BIT(31)) == 0U) &&
	    ((sys_read32(CORE_PLL_BASE + 0x04U) & BIT(2)) != 0U) &&
	    ((sys_read32(CORE_PLL_BASE + 0x08U) & 0x70ffU) == PLL_DIV_400MHZ) &&
	    ((sys_read32(CORE_PLL_BASE + 0x10U) & (BIT(30) | 0x7fffU)) == 0U) &&
	    ((sys_read32(CORE_PLL_BASE + 0x0cU) & BIT(30)) != 0U) &&
	    ((sys_read32(CORE_DFS_BASE + 0x1cU) & 0xff3fU) == DFS_DIV_400MHZ) &&
	    ((sys_read32(CORE_DFS_BASE + 0x0cU) & BIT(0)) != 0U) &&
	    ((sys_read32(CGM0_BASE + 0x304U) & (MUX_SOURCE_MASK | MUX_SWITCH_BUSY)) ==
	     (12U << 24U))) {
		return 0;
	}

	/* Move XBAR/M7 off CORE_PLL before powering down its only enabled output. */
	ret = select_xbar_source(0U);
	if (ret != 0) {
		return ret;
	}
	sys_write32(sys_read32(CORE_DFS_BASE + 0x14U) | DFS_PORTS_MASK,
		    CORE_DFS_BASE + 0x14U);
	ret = wait_register(CORE_DFS_BASE + 0x0cU, DFS_PORTS_MASK, 0U);
	if (ret != 0) {
		return ret;
	}
	pll_control = sys_read32(CORE_PLL_BASE);
	sys_write32(pll_control | BIT(31), CORE_PLL_BASE);
	ret = wait_register(CORE_PLL_BASE + 0x04U, BIT(2), 0U);
	if (ret != 0) {
		return ret;
	}
	/* 40 MHz / 2 * 80 = 1600 MHz VCO; DFS1 / 2 and M7 / 2 yield 400 MHz. */
	sys_write32(1U, CORE_PLL_BASE + 0x20U);
	sys_write32(PLL_DIV_400MHZ, CORE_PLL_BASE + 0x08U);
	sys_write32(sys_read32(CORE_PLL_BASE + 0x10U) & ~(BIT(30) | 0x7fffU),
		    CORE_PLL_BASE + 0x10U);
	sys_write32(BIT(30), CORE_PLL_BASE + 0x0cU);
	sys_write32(pll_control & ~BIT(31), CORE_PLL_BASE);
	ret = wait_register(CORE_PLL_BASE + 0x04U, BIT(2), BIT(2));
	if (ret != 0) {
		return ret;
	}
	sys_write32(DFS_DIV_400MHZ, CORE_DFS_BASE + 0x1cU);
	sys_write32(sys_read32(CORE_DFS_BASE + 0x18U) & ~BIT(1), CORE_DFS_BASE + 0x18U);
	sys_write32(sys_read32(CORE_DFS_BASE + 0x14U) & ~BIT(0), CORE_DFS_BASE + 0x14U);
	ret = wait_register(CORE_DFS_BASE + 0x0cU, BIT(0), BIT(0));
	if (ret != 0) {
		return ret;
	}
	return select_xbar_source(12U);
}
```

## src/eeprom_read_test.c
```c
/*
 * Copyright The Zephyr Project Contributors
 * SPDX-License-Identifier: Apache-2.0
 */

#include <errno.h>
#include <inttypes.h>
#include <string.h>
#include <zephyr/drivers/pinctrl.h>
#include <zephyr/kernel.h>
#include <zephyr/sys/printk.h>
#include <zephyr/sys/sys_io.h>

#include "clock.h"
#include "eeprom_read_test.h"

/* S32G I2C has byte-spaced registers and active-high module disable. */
#define I2C2_BASE       0x401ec000U
#define IBFD            1U
#define IBCR            2U
#define IBSR            3U
#define IBDR            4U
#define IBIC            5U
#define IBDBG           6U
#define MDIS            BIT(7)
#define MSSL            BIT(5)
#define TXRX            BIT(4)
#define NOACK           BIT(3)
#define RSTA            BIT(2)
#define TCF             BIT(7)
#define IBB             BIT(5)
#define IBAL            BIT(4)
#define IBIF            BIT(1)
#define RXAK            BIT(0)
#define GLFLT_EN        BIT(3)
#define EEPROM_ADDRESS  0x51U
#define EEPROM_SIZE     SAMPLE_EEPROM_SIZE
#define READ_ROUNDS     100U
#define TIMEOUT_US      20000U

PINCTRL_DT_DEFINE(DT_PATH(zephyr_user));

/* Debugger-visible evidence: state 0/not run, 1/running, 2/pass, 3/fail. */
struct eeprom_read_result {
	uint32_t state;
	int32_t error;
	uint32_t transactions;
	uint32_t bytes;
	uint32_t block_matches;
	uint32_t offset_matches;
	uint32_t nacks;
	uint32_t timeouts;
	uint32_t arbitration_losses;
	uint32_t bus_hz;
	uint32_t last_status;
	uint32_t checksum;
	uint8_t baseline[EEPROM_SIZE];
};

volatile struct eeprom_read_result sample_eeprom_result;

/* Zero after each ELF startup. Only set after saving the complete host backup. */
volatile uint32_t sample_eeprom_write_arm;

struct eeprom_write_result {
	uint32_t state;
	int32_t error;
	int32_t restore_error;
	uint32_t page_matches;
	uint32_t byte_matches;
	uint32_t write_cycles;
	uint32_t restore_attempts;
	uint32_t restored;
	uint32_t final_hash;
	uint32_t write_bytes;
	uint8_t baseline[EEPROM_SIZE];
	uint8_t final[EEPROM_SIZE];
};

volatile struct eeprom_write_result sample_eeprom_write_result;

static uint8_t reg_read(uint32_t offset)
{
	return sys_read8(I2C2_BASE + offset);
}

static void reg_write(uint32_t offset, uint8_t value)
{
	sys_write8(value, I2C2_BASE + offset);
}

static int32_t wait_status(uint8_t mask, bool set)
{
	uint32_t start = k_cycle_get_32();
	uint32_t bound = k_us_to_cyc_ceil32(TIMEOUT_US);

	do {
		uint8_t status = reg_read(IBSR);

		sample_eeprom_result.last_status = status;
		if ((status & IBAL) != 0U) {
			sample_eeprom_result.arbitration_losses++;
			return -EAGAIN;
		}
		if (((status & mask) != 0U) == set) {
			return 0;
		}
	} while ((uint32_t)(k_cycle_get_32() - start) < bound);
	sample_eeprom_result.timeouts++;
	return -ETIMEDOUT;
}

static int32_t wait_byte(bool transmit)
{
	int32_t err = wait_status(IBIF, true);
	uint8_t status = reg_read(IBSR);

	if (err != 0) {
		return err;
	}
	/* IBIF and IBAL are write-one-to-clear, not read-modify-write. */
	reg_write(IBSR, IBIF);
	if ((status & TCF) == 0U) {
		return -EIO;
	}
	if (transmit && ((status & RXAK) != 0U)) {
		sample_eeprom_result.nacks++;
		return -ENXIO;
	}
	return 0;
}

static int32_t transmit_byte(uint8_t value)
{
	reg_write(IBDR, value);
	return wait_byte(true);
}

static int32_t stop_transfer(int32_t err)
{
	/* Do not drive STOP after arbitration loss: another master owns the bus. */
	if (err != -EAGAIN) {
		int32_t stop_err;

		reg_write(IBCR, TXRX);
		stop_err = wait_status(IBB, false);
		if (err == 0) {
			err = stop_err;
		}
	}
	reg_write(IBSR, IBIF | IBAL);
	return err;
}

static int32_t read_offset(uint8_t offset, uint8_t *buffer, size_t length)
{
	int32_t err;

	if ((buffer == NULL) || (length == 0U) ||
	    ((size_t)offset + length > EEPROM_SIZE)) {
		return -EINVAL;
	}
	err = wait_status(IBB, false);
	if (err != 0) {
		return err;
	}
	reg_write(IBSR, IBIF | IBAL);
	reg_write(IBCR, MSSL | TXRX);
	err = wait_status(IBB, true);
	if (err == 0) {
		err = transmit_byte(EEPROM_ADDRESS << 1U);
	}
	if (err == 0) {
		/* Only the word address is sent: no EEPROM data programming. */
		err = transmit_byte(offset);
	}
	if (err == 0) {
		reg_write(IBCR, MSSL | TXRX | RSTA);
		err = transmit_byte((EEPROM_ADDRESS << 1U) | 1U);
	}
	if (err != 0) {
		goto stop;
	}
	reg_write(IBCR, MSSL | ((length == 1U) ? NOACK : 0U));
	(void)reg_read(IBDR); /* Dummy read starts the receive shifter. */
	for (size_t i = 0U; i < length; i++) {
		err = wait_byte(false);
		if (err != 0) {
			goto stop;
		}
		if (i + 1U == length) {
			/* STOP must precede reading the final byte. */
			reg_write(IBCR, NOACK);
		} else if (i + 2U == length) {
			reg_write(IBCR, MSSL | NOACK);
		}
		buffer[i] = reg_read(IBDR);
	}
stop:
	err = stop_transfer(err);
	if (err == 0) {
		sample_eeprom_result.transactions++;
		sample_eeprom_result.bytes += length;
	}
	return err;
}

static uint32_t buffer_hash(const uint8_t *buffer, size_t length)
{
	uint32_t hash = 2166136261U;

	for (size_t i = 0U; i < length; i++) {
		hash ^= buffer[i];
		hash *= 16777619U;
	}
	return hash;
}

static int32_t write_page(uint8_t offset, const uint8_t *buffer, size_t length)
{
	int32_t err;

	if ((buffer == NULL) || !sample_eeprom_write_range_valid(offset, length)) {
		return -EINVAL;
	}
	err = wait_status(IBB, false);
	if (err != 0) {
		return err;
	}
	reg_write(IBSR, IBIF | IBAL);
	reg_write(IBCR, MSSL | TXRX);
	err = wait_status(IBB, true);
	if (err == 0) {
		err = transmit_byte(EEPROM_ADDRESS << 1U);
	}
	if (err == 0) {
		err = transmit_byte(offset);
	}
	for (size_t i = 0U; (i < length) && (err == 0); i++) {
		err = transmit_byte(buffer[i]);
	}
	err = stop_transfer(err);
	/* AT24C01B/C tWR <= 5 ms. Also wait after a possibly partial write. */
	k_msleep(6);
	if (err == 0) {
		sample_eeprom_write_result.write_cycles++;
		sample_eeprom_write_result.write_bytes += length;
	}
	return err;
}

static int32_t write_compare(uint8_t offset, const uint8_t *buffer, size_t length)
{
	uint8_t readback[SAMPLE_EEPROM_PAGE_SIZE];
	int32_t err = write_page(offset, buffer, length);

	if (err == 0) {
		err = read_offset(offset, readback, length);
	}
	if ((err == 0) && (memcmp(buffer, readback, length) != 0)) {
		err = -EILSEQ;
	}
	return err;
}

int32_t sample_eeprom_write_test(void)
{
	const uint8_t patterns[] = {0x00U, 0xffU, 0xaaU, 0x55U};
	uint8_t baseline[EEPROM_SIZE];
	uint8_t final[EEPROM_SIZE];
	uint8_t pattern[SAMPLE_EEPROM_PAGE_SIZE];
	int32_t err = 0;
	int32_t restore_err = 0;

	if (sample_eeprom_write_arm != SAMPLE_EEPROM_WRITE_ARM) {
		return 0;
	}
	sample_eeprom_write_arm = 0U;
	sample_eeprom_write_result.state = 1U;
	if ((sample_eeprom_result.state != 2U) || ((reg_read(IBCR) & MDIS) == 0U)) {
		err = -EPERM;
		goto finish;
	}
	for (size_t i = 0U; i < sizeof(baseline); i++) {
		baseline[i] = sample_eeprom_result.baseline[i];
		sample_eeprom_write_result.baseline[i] = baseline[i];
	}
	reg_write(IBSR, IBIF | IBAL);
	reg_write(IBCR, TXRX);
	err = read_offset(0U, final, sizeof(final));
	if (err == 0) {
		if (memcmp(baseline, final, sizeof(final)) != 0) {
			err = -EILSEQ;
		}
	}
	if (err != 0) {
		goto disable;
	}
	printk("I2C2 U65 RW START range=0x78-0x7f backup=%08" PRIx32 "\n",
	       buffer_hash(baseline, sizeof(baseline)));
	for (size_t i = 0U; i < ARRAY_SIZE(patterns); i++) {
		memset(pattern, patterns[i], sizeof(pattern));
		err = write_compare(SAMPLE_EEPROM_TEST_OFFSET, pattern, sizeof(pattern));
		if (err != 0) {
			goto restore;
		}
		sample_eeprom_write_result.page_matches++;
	}
	for (size_t i = 0U; i < sizeof(pattern); i++) {
		pattern[i] = 0x3cU ^ (uint8_t)i;
	}
	err = write_compare(SAMPLE_EEPROM_TEST_OFFSET, pattern, sizeof(pattern));
	if (err != 0) {
		goto restore;
	}
	sample_eeprom_write_result.page_matches++;
	pattern[0] = 0x69U;
	err = write_compare(SAMPLE_EEPROM_TEST_OFFSET, pattern, 1U);
	if (err != 0) {
		goto restore;
	}
	sample_eeprom_write_result.byte_matches++;
	pattern[0] = 0x96U;
	err = write_compare(EEPROM_SIZE - 1U, pattern, 1U);
	if (err == 0) {
		sample_eeprom_write_result.byte_matches++;
	}
restore:
	/* Even a failed transaction may have programmed data before its STOP. */
	for (uint32_t attempt = 0U; attempt < 3U; attempt++) {
		sample_eeprom_write_result.restore_attempts++;
		restore_err = write_page(SAMPLE_EEPROM_TEST_OFFSET,
					 baseline + SAMPLE_EEPROM_TEST_OFFSET, sizeof(pattern));
		if (restore_err == 0) {
			restore_err = read_offset(0U, final, sizeof(final));
		}
		if (restore_err == 0) {
			for (size_t i = 0U; i < sizeof(final); i++) {
				sample_eeprom_write_result.final[i] = final[i];
			}
			sample_eeprom_write_result.final_hash = buffer_hash(final, sizeof(final));
			if (memcmp(baseline, final, sizeof(final)) == 0) {
				sample_eeprom_write_result.restored = 1U;
				break;
			}
			restore_err = -EILSEQ;
		}
		k_msleep(6);
	}
	if ((err == 0) && (restore_err != 0)) {
		err = restore_err;
	}
disable:
	reg_write(IBCR, MDIS);
finish:
	sample_eeprom_write_result.error = err;
	sample_eeprom_write_result.restore_error = restore_err;
	sample_eeprom_write_result.state =
		((err == 0) && (sample_eeprom_write_result.restored == 1U)) ? 2U : 3U;
	printk("I2C2 U65 RW %s err=%" PRId32 " pages=%" PRIu32 " bytes=%" PRIu32
	       " cycles=%" PRIu32 " restore=%" PRIu32 " restore_err=%" PRId32
	       " hash=%08" PRIx32 "\n",
	       (sample_eeprom_write_result.state == 2U) ? "PASS" : "FAIL", err,
	       sample_eeprom_write_result.page_matches, sample_eeprom_write_result.byte_matches,
	       sample_eeprom_write_result.write_cycles, sample_eeprom_write_result.restored,
	       restore_err, sample_eeprom_write_result.final_hash);
	return err;
}

void sample_eeprom_read_test(void)
{
	const uint8_t offsets[] = {0U, 1U, 7U, 8U, 63U, 127U};
	const struct pinctrl_dev_config *pins = PINCTRL_DT_DEV_CONFIG_GET(DT_PATH(zephyr_user));
	uint8_t baseline[EEPROM_SIZE];
	uint8_t buffer[EEPROM_SIZE];
	int32_t err;

	sample_eeprom_result.state = 1U;
	/* Fixed bring-up divider assumes the existing 400 MHz M7 / XBAR clock. */
	if (sample_core_clock_hz != 400000000U) {
		err = -ENOTSUP;
		goto finish;
	}
	if ((reg_read(IBCR) & MDIS) == 0U) {
		err = -EBUSY;
		goto finish;
	}
	err = pinctrl_apply_state(pins, PINCTRL_STATE_DEFAULT);
	if (err != 0) {
		goto finish;
	}
	/* MUL=4, prescaler=5, tap=1: divider 4*2*(30+5*32+2)=1536. */
	reg_write(IBFD, 0xa9U);
	reg_write(IBIC, 0U);
	reg_write(IBDBG, GLFLT_EN);
	reg_write(IBSR, IBIF | IBAL);
	reg_write(IBCR, TXRX);
	sample_eeprom_result.bus_hz = sample_core_clock_hz / 3U / 1536U;
	printk("I2C2 U65 read-only addr=0x51 bus=%" PRIu32 " Hz\n",
	       sample_eeprom_result.bus_hz);
	err = read_offset(0U, baseline, sizeof(baseline));
	if (err != 0) {
		goto disable;
	}
	for (size_t i = 0U; i < sizeof(baseline); i++) {
		sample_eeprom_result.baseline[i] = baseline[i];
	}
	for (uint32_t round = 0U; round < READ_ROUNDS; round++) {
		err = read_offset(0U, buffer, sizeof(buffer));
		if (err != 0) {
			goto disable;
		}
		if (memcmp(baseline, buffer, sizeof(buffer)) != 0) {
			err = -EILSEQ;
			goto disable;
		}
		sample_eeprom_result.block_matches++;
	}
	for (size_t i = 0U; i < ARRAY_SIZE(offsets); i++) {
		err = read_offset(offsets[i], buffer, 1U);
		if (err != 0) {
			goto disable;
		}
		if (buffer[0] != baseline[offsets[i]]) {
			err = -EILSEQ;
			goto disable;
		}
		sample_eeprom_result.offset_matches++;
	}
	sample_eeprom_result.checksum = buffer_hash(baseline, sizeof(baseline));
	for (size_t i = 0U; i < sizeof(baseline); i += 16U) {
		printk("I2C2 U65 %02x:", (unsigned int)i);
		for (size_t j = 0U; j < 16U; j++) {
			printk(" %02x", baseline[i + j]);
		}
		printk("\n");
	}
disable:
	reg_write(IBCR, MDIS);
finish:
	sample_eeprom_result.error = err;
	sample_eeprom_result.state = (err == 0) ? 2U : 3U;
	printk("I2C2 U65 %s err=%" PRId32 " blocks=%" PRIu32 " offsets=%" PRIu32
	       " transfers=%" PRIu32 " bytes=%" PRIu32 " nack=%" PRIu32
	       " timeout=%" PRIu32 " arb=%" PRIu32 " hash=%08" PRIx32 "\n",
	       (err == 0) ? "PASS" : "FAIL", err, sample_eeprom_result.block_matches,
	       sample_eeprom_result.offset_matches, sample_eeprom_result.transactions,
	       sample_eeprom_result.bytes, sample_eeprom_result.nacks,
	       sample_eeprom_result.timeouts, sample_eeprom_result.arbitration_losses,
	       sample_eeprom_result.checksum);
}
```

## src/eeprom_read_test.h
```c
/*
 * Copyright The Zephyr Project Contributors
 * SPDX-License-Identifier: Apache-2.0
 */

#ifndef S32G_PERIODIC_TASKS_EEPROM_READ_TEST_H_
#define S32G_PERIODIC_TASKS_EEPROM_READ_TEST_H_

#include <stdbool.h>
#include <stddef.h>
#include <stdint.h>

#define SAMPLE_EEPROM_SIZE         128U
#define SAMPLE_EEPROM_PAGE_SIZE    8U
#define SAMPLE_EEPROM_TEST_OFFSET  0x78U
#define SAMPLE_EEPROM_WRITE_ARM    0x45575254U

/* Read upper-board U65 without programming EEPROM data. Reports over UART. */
void sample_eeprom_read_test(void);

/* Optional debugger-armed test; return zero only when skipped or fully restored. */
int32_t sample_eeprom_write_test(void);

/* Only the last page can be written, without wrapping the EEPROM page counter. */
static inline bool sample_eeprom_write_range_valid(uint8_t offset, size_t length)
{
	return (offset >= SAMPLE_EEPROM_TEST_OFFSET) && (offset < SAMPLE_EEPROM_SIZE) &&
	       (length > 0U) && (length <= SAMPLE_EEPROM_SIZE - offset) &&
	       (length <= SAMPLE_EEPROM_PAGE_SIZE - (offset % SAMPLE_EEPROM_PAGE_SIZE));
}

#endif /* S32G_PERIODIC_TASKS_EEPROM_READ_TEST_H_ */
```

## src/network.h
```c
/*
 * SPDX-FileCopyrightText: Copyright The Zephyr Project Contributors
 * SPDX-License-Identifier: Apache-2.0
 */

#ifndef S32G_SAMPLE_NETWORK_H_
#define S32G_SAMPLE_NETWORK_H_

#include <stdint.h>

/**
 * @brief Start the sample's asynchronous Ethernet initialization once.
 *
 * The existing periodic tasks continue independently of PHY negotiation.
 * This function does not wait for link, configure clocks, or stop other tasks.
 *
 * @retval 0 Network thread started, not necessarily linked.
 * @retval -EALREADY Network thread already started.
 * @return Negative kernel errno on thread-naming failure.
 */
int32_t sample_network_start(void);

#endif /* S32G_SAMPLE_NETWORK_H_ */
```

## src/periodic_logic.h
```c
/*
 * Copyright The Zephyr Project Contributors
 * SPDX-License-Identifier: Apache-2.0
 */

#ifndef S32G_PERIODIC_TASKS_LOGIC_H_
#define S32G_PERIODIC_TASKS_LOGIC_H_

#include <stdbool.h>
#include <stdint.h>

#define LED_TOGGLE_MS 500U

/* Advance by elapsed timer expirations; replay only the final LED state. */
static inline bool sample_led_advance(uint32_t *phase, uint32_t elapsed)
{
	uint64_t total = (uint64_t)*phase + elapsed;
	uint64_t transitions = total / LED_TOGGLE_MS;

	*phase = (uint32_t)(total % LED_TOGGLE_MS);
	return (transitions & 1U) != 0U;
}

#endif /* S32G_PERIODIC_TASKS_LOGIC_H_ */
```
